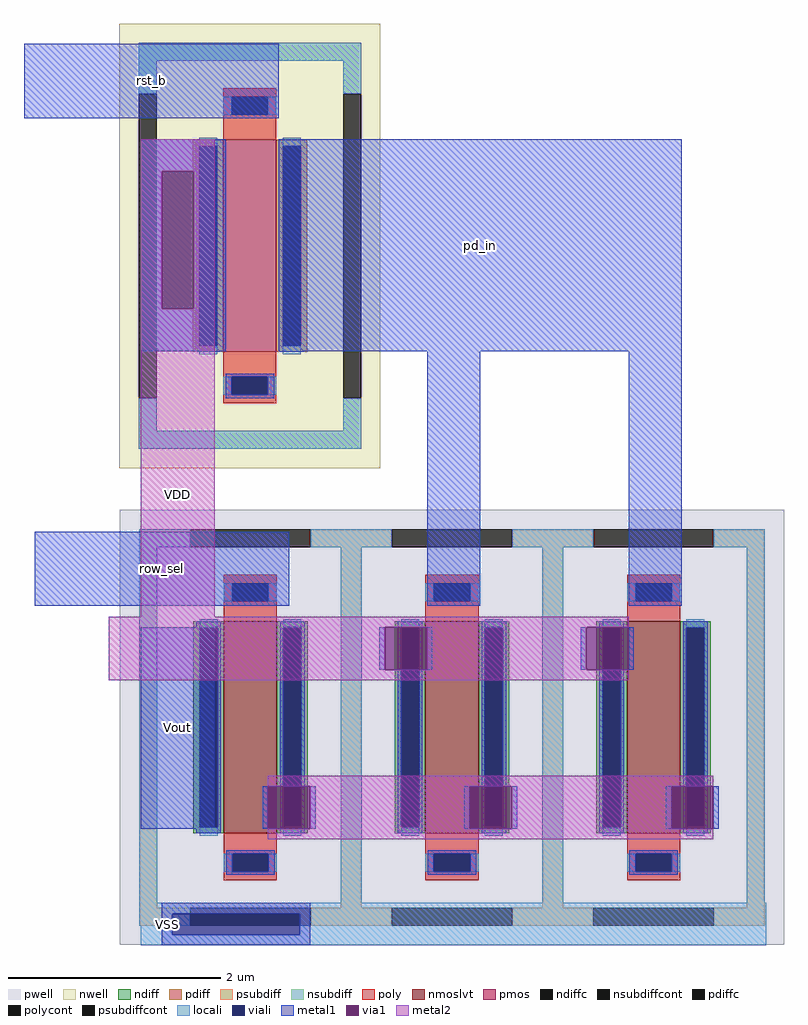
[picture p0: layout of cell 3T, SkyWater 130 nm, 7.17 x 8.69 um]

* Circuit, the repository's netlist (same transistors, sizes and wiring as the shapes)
* NGSPICE file created from 3T.ext - technology: sky130A

.subckt sky130_fd_pr__nfet_01v8_lvt_WSE2Y6 a_50_n200# a_n108_n200# a_n50_n288# a_n210_n374#
X0 a_50_n200# a_n50_n288# a_n108_n200# a_n210_n374# sky130_fd_pr__nfet_01v8_lvt ad=5.8e+11p pd=4.58e+06u as=5.8e+11p ps=4.58e+06u w=2e+06u l=500000u
.ends

.subckt sky130_fd_pr__pfet_01v8_LDYTSD a_n50_n297# a_50_n200# a_n108_n200# w_n246_n419#
X0 a_50_n200# a_n50_n297# a_n108_n200# w_n246_n419# sky130_fd_pr__pfet_01v8 ad=5.8e+11p pd=4.58e+06u as=5.8e+11p ps=4.58e+06u w=2e+06u l=500000u
.ends

.subckt 3T Vout rst_b pd_in VDD row_sel VSS
Xsky130_fd_pr__nfet_01v8_lvt_WSE2Y6_0 m1_170_n680# Vout row_sel VSS sky130_fd_pr__nfet_01v8_lvt_WSE2Y6
Xsky130_fd_pr__pfet_01v8_LDYTSD_0 rst_b pd_in VDD VDD sky130_fd_pr__pfet_01v8_LDYTSD
Xsky130_fd_pr__nfet_01v8_lvt_WSE2Y6_1 m1_170_n680# VDD pd_in VSS sky130_fd_pr__nfet_01v8_lvt_WSE2Y6
Xsky130_fd_pr__nfet_01v8_lvt_WSE2Y6_2 m1_170_n680# VDD pd_in VSS sky130_fd_pr__nfet_01v8_lvt_WSE2Y6
.ends

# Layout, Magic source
magic
tech sky130A
magscale 1 2
<< locali >>
rect -60 220 80 620
rect -60 -840 1120 -820
rect -60 -880 0 -840
rect 240 -880 1120 -840
rect -60 -900 1120 -880
<< viali >>
rect 0 -880 240 -840
<< metal1 >>
rect -280 660 200 800
rect -60 560 100 620
rect -60 300 -20 560
rect 40 300 100 560
rect -60 220 100 300
rect 200 220 960 620
rect -260 -260 220 -120
rect 480 -260 580 220
rect 860 -260 960 220
rect -60 -680 80 -300
rect 390 -380 400 -300
rect 480 -380 490 -300
rect 770 -380 780 -300
rect 860 -380 870 -300
rect 170 -680 180 -600
rect 260 -680 270 -600
rect 550 -680 560 -600
rect 640 -680 650 -600
rect 930 -680 940 -600
rect 1020 -680 1030 -600
rect -20 -840 260 -820
rect -20 -880 0 -840
rect 240 -880 260 -840
rect -20 -900 260 -880
<< via1 >>
rect -20 300 40 560
rect 400 -380 480 -300
rect 780 -380 860 -300
rect 180 -680 260 -600
rect 560 -680 640 -600
rect 940 -680 1020 -600
<< metal2 >>
rect -60 560 80 620
rect -60 300 -20 560
rect 40 300 80 560
rect -60 -280 80 300
rect -120 -300 860 -280
rect -120 -380 400 -300
rect 480 -380 780 -300
rect -120 -400 860 -380
rect 180 -600 1020 -580
rect 260 -680 560 -600
rect 640 -680 940 -600
rect 180 -700 1020 -680
use sky130_fd_pr__nfet_01v8_lvt_WSE2Y6  sky130_fd_pr__nfet_01v8_lvt_WSE2Y6_0
transform 1 0 147 0 1 -489
box -246 -410 246 410
use sky130_fd_pr__nfet_01v8_lvt_WSE2Y6  sky130_fd_pr__nfet_01v8_lvt_WSE2Y6_1
transform 1 0 527 0 1 -489
box -246 -410 246 410
use sky130_fd_pr__nfet_01v8_lvt_WSE2Y6  sky130_fd_pr__nfet_01v8_lvt_WSE2Y6_2
transform 1 0 907 0 1 -489
box -246 -410 246 410
use sky130_fd_pr__pfet_01v8_LDYTSD  sky130_fd_pr__pfet_01v8_LDYTSD_0
transform 1 0 146 0 1 419
box -246 -419 246 419
<< labels >>
flabel metal1 -60 -680 80 -300 0 FreeSans 640 0 0 0 Vout
port 0 nsew
flabel metal1 -280 660 200 800 0 FreeSans 640 0 0 0 rst_b
port 1 nsew
flabel metal1 200 220 960 620 0 FreeSans 640 0 0 0 pd_in
port 2 nsew
flabel metal2 -60 -400 80 300 0 FreeSans 640 0 0 0 VDD
port 3 nsew
flabel metal1 -260 -260 220 -120 0 FreeSans 640 0 0 0 row_sel
port 4 nsew
flabel metal1 -20 -900 0 -820 0 FreeSans 640 0 0 0 VSS
port 5 nsew
<< end >>

# cell sky130_fd_pr__nfet_01v8_lvt_WSE2Y6: kit device sky130_fd_pr__nfet_01v8_lvt, w 2 l 0.5 m 1 nf 1 diffcov 100 polycov 100 guard 1 glc 0 grc 0 gtc 1 gbc 1 tbcov 100 rlcov 100 topc 1 botc 1 poverlap 0 doverlap 1 lmin 0.15 wmin 0.42 compatible {sky130_fd_pr__nfet_01v8 sky130_fd_pr__nfet_01v8_lvt sky130_fd_bs_flash__special_sonosfet_star sky130_fd_pr__nfet_g5v0d10v5 sky130_fd_pr__nfet_05v0_nvt sky130_fd_pr__nfet_03v3_nvt} full_metal 1 viasrc 100 viadrn 100 viagate 100 viagb 0 viagr 0 viagl 0 viagt 0

# cell sky130_fd_pr__pfet_01v8_LDYTSD: kit device sky130_fd_pr__pfet_01v8, w 2 l 0.5 m 1 nf 1 diffcov 100 polycov 100 guard 1 glc 1 grc 1 gtc 0 gbc 0 tbcov 100 rlcov 100 topc 1 botc 1 poverlap 0 doverlap 1 lmin 0.15 wmin 0.42 compatible {sky130_fd_pr__pfet_01v8 sky130_fd_pr__pfet_01v8_lvt sky130_fd_pr__pfet_01v8_hvt sky130_fd_pr__pfet_g5v0d10v5} full_metal 1 viasrc 100 viadrn 100 viagate 100 viagb 0 viagr 0 viagl 0 viagt 0
